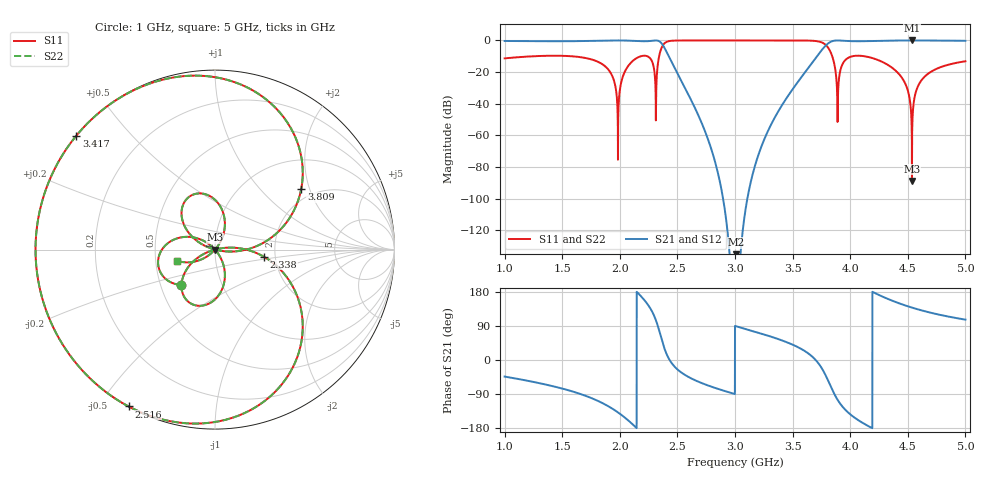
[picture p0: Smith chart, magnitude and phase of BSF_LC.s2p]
! Touchstone file from project ECEN_425_Project2MELANIE
! Exported from Circuit Design 2017.1.0
# GHZ S MA R 50.000000
! Modal data exported
! Port[1] = 1
! Port[2] = 2
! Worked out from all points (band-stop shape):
!   4001 points, 1 GHz to 5 GHz, reference 50 ohm
!   highest |S21| = 0.00 dB at 4.536 GHz (marker M1); lowest = -198.4 dB at 3.011 GHz (marker M2)
!   |S21| within 3 dB of the highest: start of sweep to 2.374 GHz; 3.791 GHz to end of sweep
!   lowest |S11| = -88.8 dB at 4.536 GHz (marker M3), VSWR 1.00, Z = 50 + j0.0027 ohm
!   |S11| at or under -10 dB: start of sweep to 1.245 GHz; 1.584 GHz to 2.182 GHz (597.4 MHz wide, 31.7 % of centre); 4.125 GHz to end of sweep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
!   |S22| runs from -88.8 to 0.0 dB; largest |S21 - S12| = 1.8e-14
!   S11 on the Smith chart (normalised r, x): 1 GHz: 0.64, -0.27; 2.338 GHz: 1.74, -0.15; 2.516 GHz: 0.00, -0.59; 3.417 GHz: 0.00, +0.36; 3.809 GHz: 1.71, +1.76; 5 GHz: 0.65, -0.09
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1  0.2721 -133.7  0.9623 -43.7  0.9623 -43.7  0.2721 -133.7
! Port Impedance50 0 50 0
1.667  0.2935 179.4  0.956 -90.6  0.956 -90.6  0.2935 179.4
1.898  0.1233 148.3  0.9924 -121.7  0.9924 -121.7  0.1233 148.3
1.983  0.001802 131.9  1 -138.1  1 -138.1  0.001802 131.9
2.112  0.2246 -79.9  0.9745 -169.9  0.9745 -169.9  0.2246 -79.9
2.334  0.2241 -4.1  0.9746 85.9  0.9746 85.9  0.2241 -4.1
2.338  0.2742 -8.2  0.9617 81.8  0.9617 81.8  0.2742 -8.2
2.416  0.9299 -80.9  0.3677 9.1  0.3677 9.1  0.9299 -80.9
2.516  0.9976 -118.8  0.06984 -28.8  0.06984 -28.8  0.9976 -118.8
2.842  1 -165.2  9.038e-05 -75.2  9.038e-05 -75.2  1 -165.2
3  1 -180.0  2.046e-28 90.0  2.046e-28 90.0  1 -180.0
3.011  1 179.0  1.204e-10 89.0  1.204e-10 89.0  1 179.0
3.166  1 165.3  8.829e-05 75.3  8.829e-05 75.3  1 165.3
3.417  0.9999 140.7  0.01017 50.7  0.01017 50.7  0.9999 140.7
3.667  0.9815 99.9  0.1916 9.9  0.1916 9.9  0.9815 99.9
3.809  0.587 35.1  0.8096 -54.9  0.8096 -54.9  0.587 35.1
3.892  0.008142 164.3  1 -105.7  1 -105.7  0.008142 164.3
4.002  0.3038 126.3  0.9527 -143.7  0.9527 -143.7  0.3038 126.3
4.334  0.1629 70.3  0.9866 160.3  0.9866 160.3  0.1629 70.3
4.536  3.621e-05 48.3  1 138.3  1 138.3  3.621e-05 48.3
4.65  0.07408 -141.5  0.9973 128.5  0.9973 128.5  0.07408 -141.5
5  0.2201 -163.5  0.9755 106.5  0.9755 106.5  0.2201 -163.5
